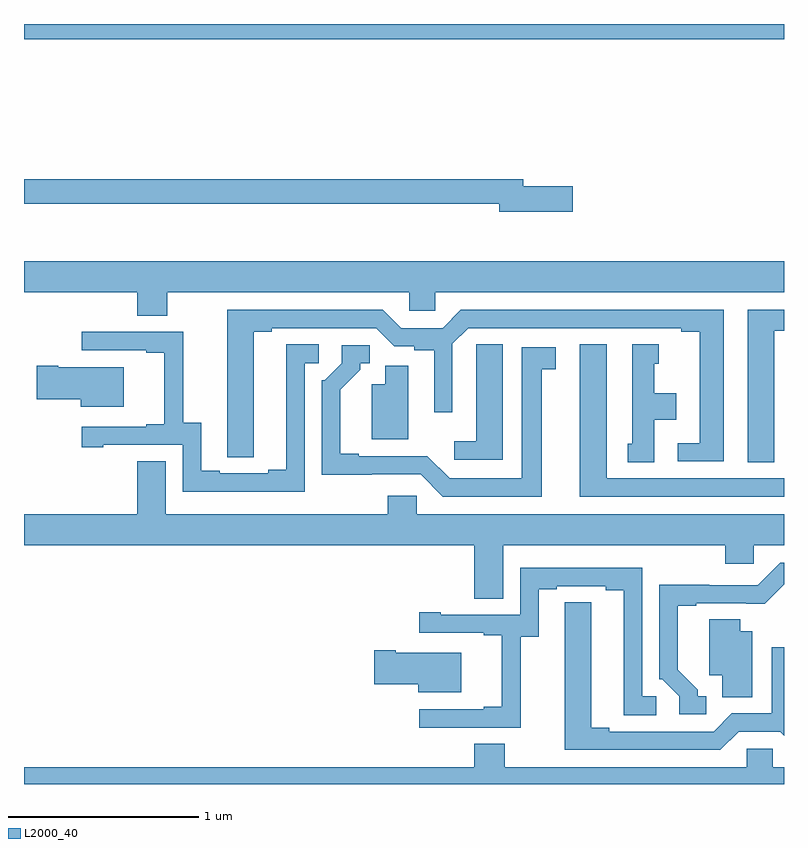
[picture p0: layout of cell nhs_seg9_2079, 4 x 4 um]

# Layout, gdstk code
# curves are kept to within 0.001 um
import gdstk
lib = gdstk.Library(unit=1e-6, precision=1e-09)
def R(c, l, rs):  # rectangles x0, y0, x1, y1
    for r in rs: c.add(gdstk.rectangle(r[:2], r[2:], *l))
def P(c, l, *ps):  # polygons
    for p in ps: c.add(gdstk.Polygon(p, *l))
L2000_40 = (2000, 40)

nhs_seg9_2079 = lib.new_cell('nhs_seg9_2079')
R(nhs_seg9_2079, L2000_40, [(229,1196.42,233,1196.5)])
P(nhs_seg9_2079, L2000_40, [(231.889,1195.646),(231.628,1195.646),(231.628,1195.682),(229,1195.682),(229,1195.554),(231.5,1195.554),(231.5,1195.511),(231.889,1195.511)],
  [(229.755,1195.088),(231.027,1195.088),(231.027,1194.99),(231.165,1194.99),(231.165,1195.088),(233,1195.088),(233,1195.252),(229,1195.252),(229,1195.088),(229.595,1195.088),(229.595,1194.964),(229.755,1194.964)],
  [(232.684,1194.996),(231.299,1194.996),(231.203,1194.9),(230.985,1194.9),(230.889,1194.996),(230.069,1194.996),(230.07,1194.22),(230.209,1194.22),(230.209,1194.88),(230.305,1194.88),(230.305,1194.9),(230.853,1194.9),(230.949,1194.804),(231.054,1194.804),(231.054,1194.784),(231.158,1194.784),(231.158,1194.456),(231.255,1194.456),(231.255,1194.816),(231.339,1194.9),(232.46,1194.9),(232.46,1194.88),(232.556,1194.88),(232.556,1194.294),(232.44,1194.294),(232.44,1194.198),(232.684,1194.198)],
  [(232.948,1194.885),(233,1194.885),(233,1194.996),(232.808,1194.996),(232.808,1194.193),(232.948,1194.193)],
  [(230.478,1194.714),(230.551,1194.714),(230.551,1194.815),(230.381,1194.815),(230.381,1194.155),(230.285,1194.155),(230.285,1194.135),(230.029,1194.135),(230.029,1194.15),(229.933,1194.15),(229.933,1194.401),(229.839,1194.401),(229.839,1194.879),(229.305,1194.879),(229.305,1194.783),(229.643,1194.783),(229.643,1194.771),(229.739,1194.771),(229.739,1194.394),(229.643,1194.394),(229.643,1194.381),(229.305,1194.381),(229.305,1194.273),(229.417,1194.273),(229.417,1194.285),(229.836,1194.285),(229.836,1194.039),(230.478,1194.039)],
  [(231.52,1194.815),(231.381,1194.815),(231.381,1194.707),(231.38,1194.707),(231.38,1194.304),(231.264,1194.304),(231.264,1194.207),(231.52,1194.207)],
  [(233,1194.108),(232.066,1194.108),(232.066,1194.814),(231.926,1194.814),(231.926,1194.012),(233,1194.012)],
  [(232.318,1194.416),(232.432,1194.416),(232.432,1194.556),(232.318,1194.556),(232.318,1194.711),(232.342,1194.711),(232.342,1194.814),(232.202,1194.814),(232.202,1194.291),(232.178,1194.291),(232.178,1194.193),(232.318,1194.193)],
  [(231.724,1194.682),(231.799,1194.682),(231.799,1194.798),(231.62,1194.798),(231.62,1194.108),(231.24,1194.108),(231.123,1194.225),(230.761,1194.225),(230.761,1194.238),(230.665,1194.238),(230.665,1194.574),(230.77,1194.679),(230.77,1194.714),(230.82,1194.714),(230.82,1194.81),(230.673,1194.81),(230.673,1194.714),(230.583,1194.624),(230.568,1194.624),(230.568,1194.128),(231.087,1194.129),(231.204,1194.012),(231.724,1194.012)],
  [(229.525,1194.694),(229.18,1194.694),(229.18,1194.702),(229.068,1194.702),(229.068,1194.524),(229.298,1194.524),(229.298,1194.485),(229.525,1194.485)],
  [(231.022,1194.702),(230.9,1194.702),(230.9,1194.604),(230.831,1194.604),(230.831,1194.314),(231.022,1194.314)],
  [(231.523,1193.756),(232.691,1193.756),(232.691,1193.658),(232.842,1193.658),(232.842,1193.756),(233,1193.756),(233,1193.92),(231.066,1193.92),(231.066,1194.018),(230.915,1194.018),(230.915,1193.92),(229.747,1193.92),(229.747,1194.2),(229.595,1194.2),(229.595,1193.92),(229,1193.92),(229,1193.756),(231.371,1193.756),(231.371,1193.476),(231.523,1193.476)],
  [(232.591,1192.962),(232.546,1192.962),(232.546,1192.997),(232.441,1193.102),(232.441,1193.439),(232.537,1193.439),(232.537,1193.451),(232.898,1193.45),(233,1193.552),(233,1193.664),(232.98,1193.664),(232.863,1193.547),(232.607,1193.547),(232.607,1193.549),(232.344,1193.549),(232.344,1193.052),(232.359,1193.052),(232.449,1192.962),(232.449,1192.866),(232.591,1192.866)],
  [(231.615,1193.275),(231.709,1193.275),(231.709,1193.526),(231.805,1193.526),(231.805,1193.541),(232.061,1193.541),(232.061,1193.521),(232.157,1193.521),(232.157,1192.861),(232.327,1192.861),(232.327,1192.962),(232.254,1192.962),(232.254,1193.637),(231.612,1193.637),(231.612,1193.391),(231.193,1193.391),(231.193,1193.404),(231.081,1193.404),(231.081,1193.295),(231.419,1193.295),(231.419,1193.283),(231.515,1193.283),(231.515,1192.906),(231.419,1192.906),(231.419,1192.893),(231.081,1192.893),(231.081,1192.797),(231.615,1192.797)],
  [(232.761,1192.776),(232.979,1192.776),(233,1192.755),(233,1193.221),(232.935,1193.221),(232.935,1192.872),(232.725,1192.872),(232.629,1192.776),(232.081,1192.776),(232.081,1192.796),(231.985,1192.796),(231.985,1193.456),(231.846,1193.456),(231.845,1192.68),(232.665,1192.68)],
  [(232.834,1193.305),(232.771,1193.305),(232.771,1193.366),(232.607,1193.366),(232.607,1193.072),(232.676,1193.072),(232.676,1192.957),(232.834,1192.957)],
  [(231.301,1193.191),(230.956,1193.191),(230.956,1193.204),(230.844,1193.204),(230.844,1193.026),(231.074,1193.026),(231.074,1192.982),(231.301,1192.982)],
  [(233,1192.588),(232.941,1192.588),(232.941,1192.686),(232.803,1192.686),(232.803,1192.588),(231.531,1192.588),(231.531,1192.712),(231.371,1192.712),(231.371,1192.588),(229,1192.588),(229,1192.5),(233,1192.5)])

lib.write_gds('nhs_seg9_2079.gds')
